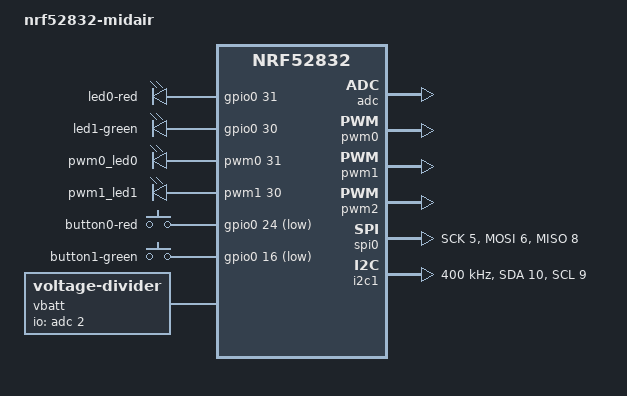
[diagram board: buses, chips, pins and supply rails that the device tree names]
// nrf52832-midair configuration
//
// Copyright (c) 2020 Andrew Fernandes <andrew@fernandes.org>
// SPDX-License-Identifier: Apache-2.0

/dts-v1/;
#include <nordic/nrf52832_ciaa.dtsi>

/ {
    model = "nrf52832-midair";
    compatible = "fernandes,nrf52832-midair", "nordic,nrf52832-ciaa", "nordic,nrf52832", "nordic,nrf52";

    chosen {
        zephyr,sram = &sram0;
        zephyr,flash = &flash0;
        zephyr,code-partition = &slot0_partition;
    };

    leds {

        compatible = "gpio-leds";

        led0_red: led_0 {
            gpios = <&gpio0 31 (GPIO_ACTIVE_HIGH)>; // GPIO_OUTPUT
            label = "led0-red";
        };

        led1_green: led_1 {
            gpios = <&gpio0 30 (GPIO_ACTIVE_HIGH)>; // GPIO_OUTPUT
            label = "led1-green";
        };

    };

    pwmleds {

        compatible = "pwm-leds";

        pwm0_led0: pwm_led_0 {
            pwms = <&pwm0 31>;
        };

        pwm1_led1: pwm_led_1 {
            pwms = <&pwm1 30>;
        };

    };

    buttons {

        compatible = "gpio-keys";

        button0_red: button_0 {
            gpios = <&gpio0 24 (GPIO_ACTIVE_LOW | GPIO_PULL_UP)>; // GPIO_INPUT
            label = "button0-red";
        };

        button1_green: button_1 {
            gpios = <&gpio0 16 (GPIO_ACTIVE_LOW | GPIO_PULL_UP)>; // GPIO_INPUT
            label = "button1-green";
        };

    };

    vbatt {
        compatible = "voltage-divider";
        io-channels = <&adc 2>; // AIN2
        output-ohms = <100000>;
        full-ohms = <(100000 + 100000)>;
    };

    aliases {

        led0 = &led0_red;
        led1 = &led1_green;

        led0-red   = &led0_red;
        led1-green = &led1_green;

        pwm0-led0 = &pwm0_led0;
        pwm1-led1 = &pwm1_led1;

        pwm0-red = &pwm0_led0;
        pwm1-green = &pwm1_led1;

        pwm0-led0-red = &pwm0_led0;
        pwm1-led1-green = &pwm1_led1;

        button0 = &button0_red;
        button1 = &button1_green;

        button0-red   = &button0_red;
        button1-green = &button1_green;

        sw0 = &button0_red;
        sw1 = &button1_green;

        sw0-red = &button0_red;
        sw1-green  = &button1_green;

    };

};

&gpio0 {
    status = "okay";
};

&gpiote {
    status = "okay";
};

&adc {
    status = "okay";
    label = "adc-vbatt";
};

&pwm0 {
    status = "okay";
    label = "pwm0-red";
    ch0-pin = <31>;
};

&pwm1 {
    status = "okay";
    label = "pwm1-green";
    ch0-pin = <30>;
};

&pwm2 {
    status = "okay";
};

&spi0 {
    status = "okay";
    label = "accelerometer";
    compatible = "nordic,nrf-spim";
    sck-pin  = <5>;
    mosi-pin = <6>;
    miso-pin = <8>;
    cs-gpios = <&gpio0 3 (GPIO_ACTIVE_LOW)>; // GPIO_OUTPUT
 // enable-gpios = <&gpio0 22 (GPIO_OUTPUT | GPIO_ACTIVE_LOW)>, // INT1
 //                <&gpio0  2 (GPIO_OUTPUT | GPIO_ACTIVE_LOW)>; // INT2
};

&i2c1 {
    status = "okay";
    label = "magnetometer";
    compatible = "nordic,nrf-twim";
    clock-frequency = <I2C_BITRATE_FAST>;
    scl-pin =  <9>; // P0.12 and P0.19 should be set as inputs with pull-up
    sda-pin = <10>; // P0.11 and P0.14 should be set as inputs with pull-up
 // enable-gpios = <&gpio0 12 (GPIO_INPUT | GPIO_ACTIVE_LOW | GPIO_PULL_UP)>, <&gpio0 19 (GPIO_INPUT | GPIO_ACTIVE_LOW | GPIO_PULL_UP)>, // SCL
 //                <&gpio0 11 (GPIO_INPUT | GPIO_ACTIVE_LOW | GPIO_PULL_UP)>, <&gpio0 14 (GPIO_INPUT | GPIO_ACTIVE_LOW | GPIO_PULL_UP)>, // SDA
 //                <&gpio0 26 (GPIO_INPUT | GPIO_ACTIVE_LOW)>; // INT
};

&timer1 {
	prescaler = <4>; // 0 -> 16 MHz, 4 -> 1 MHz
};

&timer2 {
	prescaler = <4>; // 0 -> 16 MHz, 4 -> 1 MHz
};

&timer3 {
	prescaler = <4>; // 0 -> 16 MHz, 4 -> 1 MHz
};

&timer4 {
	prescaler = <4>; // 0 -> 16 MHz, 4 -> 1 MHz
};

&flash0 {

    // https://docs.zephyrproject.org/latest/guides/dts/legacy-macros.html#mcuboot-partitions

    partitions {

        compatible = "fixed-partitions";
        #address-cells = <1>;
        #size-cells = <1>;

        boot_partition: partition@0 {
            label = "mcuboot";
            reg = <0x00000000 0xC000>;
        };

        slot0_partition: partition@c000 {
            label = "image-0";
            reg = <0x0000C000 0x32000>;
        };

        slot1_partition: partition@3e000 {
            label = "image-1";
            reg = <0x0003E000 0x32000>;
        };

        scratch_partition: partition@70000 {
            label = "image-scratch";
            reg = <0x00070000 0xA000>;
        };

        storage_partition: partition@7a000 {
            label = "storage";
            reg = <0x0007A000 0x00006000>;
        };

    };

};
